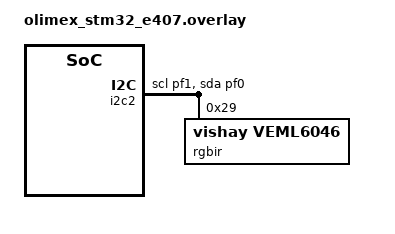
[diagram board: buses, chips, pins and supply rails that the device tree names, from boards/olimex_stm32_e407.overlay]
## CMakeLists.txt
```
# SPDX-License-Identifier: Apache-2.0

cmake_minimum_required(VERSION 3.28.0)
find_package(Zephyr REQUIRED HINTS $ENV{ZEPHYR_BASE})
project(veml6046)

target_sources(app PRIVATE src/main.c)
```

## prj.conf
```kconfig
CONFIG_SENSOR=y
```

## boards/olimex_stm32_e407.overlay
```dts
/*
 * Copyright (c) 2025 Andreas Klinger
 *
 * SPDX-License-Identifier: Apache-2.0
 */

&pinctrl {
	i2c2_sda_pf0: i2c2_sda_pf0 {
		pinmux = <0xa04>;
		bias-pull-up;
		drive-open-drain;
	};

	i2c2_scl_pf1: i2c2_scl_pf1 {
		pinmux = <0xa24>;
		bias-pull-up;
		drive-open-drain;
	};
};

&i2c2 {
	pinctrl-0 = <&i2c2_scl_pf1 &i2c2_sda_pf0>;
	pinctrl-names = "default";
	scl-gpios = <&gpiof 1 GPIO_ACTIVE_HIGH>;
	sda-gpios = <&gpiof 0 GPIO_ACTIVE_HIGH>;
	status = "okay";

	rgbir: rgbir@29 {
		compatible = "vishay,veml6046";
		reg = <0x29>;
	};
};
```

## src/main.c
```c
/*
 * Copyright (c) 2025 Andreas Klinger
 *
 * SPDX-License-Identifier: Apache-2.0
 */

#include <zephyr/kernel.h>

#include <zephyr/sys/printk.h>
#include <stdio.h>

#include <zephyr/device.h>
#include <zephyr/drivers/sensor.h>

#include <zephyr/drivers/sensor/veml6046.h>

static void read_with_attr(const struct device *dev, int it, int pdd, int gain)
{
	int ret;
	struct sensor_value red, green, blue, ir;
	struct sensor_value red_raw, green_raw, blue_raw, ir_raw;
	struct sensor_value sen;
	char result[10];

	sen.val2 = 0;

	sen.val1 = it;
	ret = sensor_attr_set(dev, SENSOR_CHAN_LIGHT,
			     (enum sensor_attribute)SENSOR_ATTR_VEML6046_IT, &sen);
	if (ret) {
		printf("Failed to set it attribute ret: %d\n", ret);
	}
	sen.val1 = pdd;
	ret = sensor_attr_set(dev, SENSOR_CHAN_LIGHT,
			     (enum sensor_attribute)SENSOR_ATTR_VEML6046_PDD, &sen);
	if (ret) {
		printf("Failed to set pdd attribute ret: %d\n", ret);
	}
	sen.val1 = gain;
	ret = sensor_attr_set(dev, SENSOR_CHAN_LIGHT,
			     (enum sensor_attribute)SENSOR_ATTR_VEML6046_GAIN, &sen);
	if (ret) {
		printf("Failed to set gain attribute ret: %d\n", ret);
	}

	ret = sensor_sample_fetch(dev);
	if ((ret < 0) && (ret != -E2BIG)) {
		printf("sample update error. ret: %d\n", ret);
	}

	sensor_channel_get(dev, SENSOR_CHAN_RED, &red);
	sensor_channel_get(dev, (enum sensor_channel)SENSOR_CHAN_VEML6046_RED_RAW_COUNTS,
										&red_raw);

	sensor_channel_get(dev, SENSOR_CHAN_GREEN, &green);
	sensor_channel_get(dev, (enum sensor_channel)SENSOR_CHAN_VEML6046_GREEN_RAW_COUNTS,
										&green_raw);

	sensor_channel_get(dev, SENSOR_CHAN_BLUE, &blue);
	sensor_channel_get(dev, (enum sensor_channel)SENSOR_CHAN_VEML6046_BLUE_RAW_COUNTS,
										&blue_raw);

	sensor_channel_get(dev, SENSOR_CHAN_IR, &ir);
	sensor_channel_get(dev, (enum sensor_channel)SENSOR_CHAN_VEML6046_IR_RAW_COUNTS,
										&ir_raw);

	if (ret == -E2BIG) {
		snprintf(result, sizeof(result), "OVERFLOW");
	} else if (ret) {
		snprintf(result, sizeof(result), "ERROR");
	} else {
		snprintf(result, sizeof(result), "");
	}

	printf("Red: %6d lx (%6d) green:  %6d lx (%6d) "
	       "blue: %6d lx (%6d) IR:  %6d lx (%6d) "
	       "  it: %d pdd: %d gain: %d  --  %s\n",
	       red.val1, red_raw.val1,
	       green.val1, green_raw.val1,
	       blue.val1, blue_raw.val1,
	       ir.val1, ir_raw.val1,
	       it, pdd, gain,
	       result);
}

static void read_with_all_attr(const struct device *dev)
{
	for (int it = VEML60XX_IT_3_125; it <= VEML60XX_IT_400; it++) {
		for (int pdd = VEML6046_SIZE_2_2; pdd <= VEML6046_SIZE_1_2; pdd++) {
			for (int gain = VEML60XX_GAIN_1; gain <= VEML60XX_GAIN_0_5; gain++) {
				read_with_attr(dev, it, pdd, gain);
			}
		}
	}
}

int main(void)
{
	const struct device *const veml = DEVICE_DT_GET(DT_NODELABEL(rgbir));

	if (!device_is_ready(veml)) {
		printk("sensor: device not ready.\n");
		return 0;
	}

	printf("Test all attributes for a good guess of attribute usage away of saturation.\n");
	read_with_all_attr(veml);
	printf("Test finished.\n");

	return 0;
}
```
